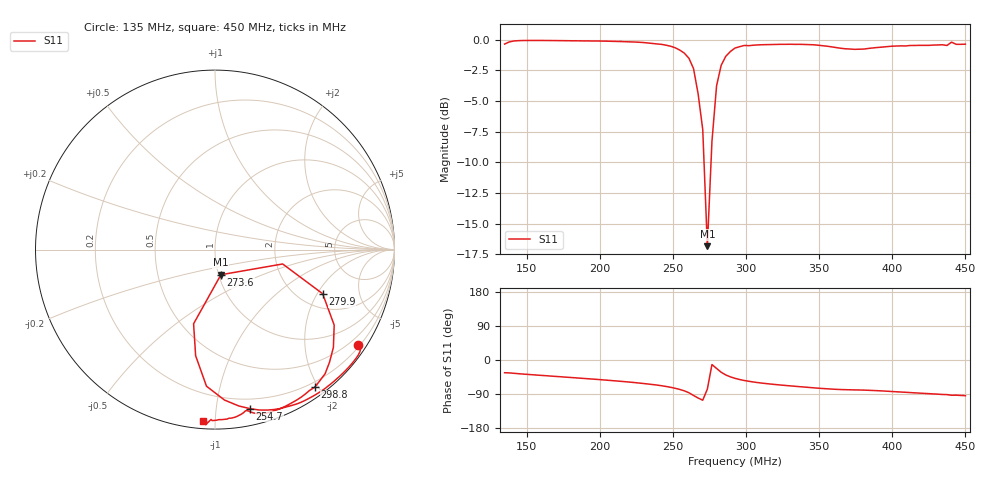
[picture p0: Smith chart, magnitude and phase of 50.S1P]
!File created by NanoVNA
# Hz S RI R 50
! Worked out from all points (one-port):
!   101 points, 135 MHz to 450 MHz, reference 50 ohm
!   lowest |S11| = -16.8 dB at 273.6 MHz (marker M1), VSWR 1.34, Z = 51.3 - j14.7 ohm
!   |S11| at or under -10 dB: 271.3 MHz to 276.1 MHz (4.783 MHz wide, 1.75 % of centre)
!   S11 on the Smith chart (normalised r, x): 135 MHz: 0.25, -3.30; 254.7 MHz: 0.12, -1.24; 273.6 MHz: 1.03, -0.29; 279.9 MHz: 2.63, -2.23; 298.8 MHz: 0.13, -1.95; 450 MHz: 0.04, -0.93
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1.35e8  0.7993 -0.5307
1.413e8  0.8081 -0.5672
1.7595e8  0.7005 -0.7001
2.1375e8  0.5488 -0.8151
2.3895e8  0.3897 -0.8783
2.484e8  0.2912 -0.8942
2.547e8  0.1941 -0.8859
2.61e8  0.0527 -0.8381
2.6415e8  -0.0476 -0.7608
2.673e8  -0.108 -0.5908
2.7045e8  -0.1192 -0.4132
2.736e8  0.0329 -0.1401
2.7675e8  0.3769 -0.08
2.799e8  0.5999 -0.246
2.8305e8  0.664 -0.4204
2.862e8  0.6598 -0.5442
2.925e8  0.6136 -0.6912
2.988e8  0.5553 -0.7669
3.114e8  0.4592 -0.8357
3.3345e8  0.3381 -0.8951
3.5865e8  0.2135 -0.9097
3.7125e8  0.1804 -0.8978
3.9015e8  0.1448 -0.918
4.122e8  0.0667 -0.9442
4.374e8  -0.0221 -0.9465
4.4055e8  -0.0518 -0.9753
4.437e8  -0.047 -0.9561
4.5e8  -0.0695 -0.9559
